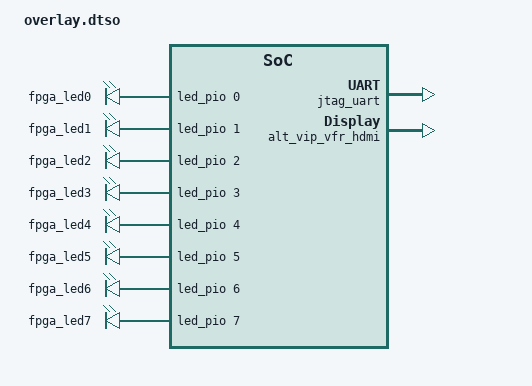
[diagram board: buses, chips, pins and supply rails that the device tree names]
/dts-v1/;
/plugin/; 
/ { 
   	fragment@0 { 
		target-path = "/soc/base-fpga-region"; 
        #address-cells = <1>; 
		#size-cells = <1>; 
        
		__overlay__ { 

			#address-cells = <2>; 
			#size-cells = <1>; 

			//For changing not .rbf only .dtb	
			external-fpga-config;
            
			//For changing .rbf and .dtb
			//rbf and dtb must be on /lib/firmware
			//firmware-name = "<.rbf file name>";

            fpga-bridges = <&fpga_bridge0 &fpga_bridge1>;

			ranges = <0x00000000 0x00000000 0xc0000000 0x20000000>,
                      <0x00000001 0x00000000 0xff200000 0x00200000>;

			clk_0: clk_0 {
					compatible = "fixed-clock";
					#clock-cells = <0>;
					clock-frequency = <50000000>;	/* 50.00 MHz */
			}; //end clk_0 (clk_0)

			jtag_uart: serial@0x100002000 {
				compatible = "altr,juart-16.0", "altr,juart-1.0";
				reg = <0x00000001 0x00002000 0x00000008>;
				interrupt-parent = <&intc>;
				interrupts = <0 42 4>;
				clocks = <&clk_0>;
			}; //end serial@0x100002000 (jtag_uart)

			ILC: ilc@0x100030000 {
				compatible = "altr,altera_ilc-16.0", "altr,ilc-1.0";
				reg = <0x00000001 0x00030000 0x00000100>;
				interrupt-parent = <&intc>;
				interrupts = <0 42 4 0 41 1 0 40 1>;
				interrupt-names = "jtag_uart", "button_pio", "dipsw_pio";
				interrupt-controller;
				#interrupt-cells = <1>;
				clocks = <&clk_0>;
				altr,sw-fifo-depth = <32>;	/* embeddedsw.dts.params.altr,sw-fifo-depth type NUMBER */
			}; //end ilc@0x100030000 (ILC)

			alt_vip_vfr_hdmi: vip@0x100031000 {
				compatible = "ALTR,vip-frame-reader-14.0", "ALTR,vip-frame-reader-9.1";
				reg = <0x00000001 0x00031000 0x00000080>;
				clocks = <&clk_0>;
				max-width = <1024>;	/* MAX_IMAGE_WIDTH type NUMBER */
				max-height = <768>;	/* MAX_IMAGE_HEIGHT type NUMBER */
				bits-per-color = <8>;	/* BITS_PER_PIXEL_PER_COLOR_PLANE type NUMBER */
				colors-per-beat = <4>;	/* NUMBER_OF_CHANNELS_IN_PARALLEL type NUMBER */
				beats-per-pixel = <1>;	/* NUMBER_OF_CHANNELS_IN_SEQUENCE type NUMBER */
				mem-word-width = <128>;	/* MEM_PORT_WIDTH type NUMBER */
			}; //end vip@0x100031000 (alt_vip_vfr_hdmi)

			sysid_qsys: sysid@0x100001000 {
				compatible = "altr,sysid-16.0", "altr,sysid-1.0";
				reg = <0x00000001 0x00001000 0x00000008>;
				clocks = <&clk_0>;
				// id = <2899645186>;	/* embeddedsw.dts.params.id type NUMBER */
				// timestamp = <1490250599>;	/* embeddedsw.dts.params.timestamp type NUMBER */
			}; //end sysid@0x100001000 (sysid_qsys)

			led_pio: gpio@0x100003000 {
				compatible = "altr,pio-16.0", "altr,pio-1.0";
				reg = <0x00000001 0x00003000 0x00000010>;
				clocks = <&clk_0>;
				altr,gpio-bank-width = <8>;	/* embeddedsw.dts.params.altr,gpio-bank-width type NUMBER */
				resetvalue = <255>;	/* embeddedsw.dts.params.resetvalue type NUMBER */
				#gpio-cells = <2>;
				gpio-controller;
			}; //end gpio@0x100003000 (led_pio)

			dipsw_pio: gpio@0x100004000 {
				compatible = "altr,pio-16.0", "altr,pio-1.0";
				reg = <0x00000001 0x00004000 0x00000010>;
				interrupt-parent = <&intc>;
				interrupts = <0 40 1>;
				clocks = <&clk_0>;
				altr,gpio-bank-width = <4>;	/* embeddedsw.dts.params.altr,gpio-bank-width type NUMBER */
				altr,interrupt-type = <3>;	/* embeddedsw.dts.params.altr,interrupt-type type NUMBER */
				altr,interrupt_type = <3>;	/* embeddedsw.dts.params.altr,interrupt_type type NUMBER */
				edge_type = <2>;	/* embeddedsw.dts.params.edge_type type NUMBER */
				level_trigger = <0>;	/* embeddedsw.dts.params.level_trigger type NUMBER */
				resetvalue = <0>;	/* embeddedsw.dts.params.resetvalue type NUMBER */
				#gpio-cells = <2>;
				gpio-controller;
			}; //end gpio@0x100004000 (dipsw_pio)

			button_pio: gpio@0x100005000 {
				compatible = "altr,pio-16.0", "altr,pio-1.0";
				reg = <0x00000001 0x00005000 0x00000010>;
				interrupt-parent = <&intc>;
				interrupts = <0 41 1>;
				clocks = <&clk_0>;
				altr,gpio-bank-width = <2>;	/* embeddedsw.dts.params.altr,gpio-bank-width type NUMBER */
				altr,interrupt-type = <2>;	/* embeddedsw.dts.params.altr,interrupt-type type NUMBER */
				altr,interrupt_type = <2>;	/* embeddedsw.dts.params.altr,interrupt_type type NUMBER */
				edge_type = <1>;	/* embeddedsw.dts.params.edge_type type NUMBER */
				level_trigger = <0>;	/* embeddedsw.dts.params.level_trigger type NUMBER */
				resetvalue = <0>;	/* embeddedsw.dts.params.resetvalue type NUMBER */
				#gpio-cells = <2>;
				gpio-controller;
			}; //end gpio@0x100005000 (button_pio)

			ov-leds {
				compatible = "gpio-leds";
				
				fpga0 {
					label = "fpga_led0";
					gpios = <&led_pio 0 0>;
				};
				fpga1 {
					label = "fpga_led1";
					gpios = <&led_pio 1 0>;
				};
				fpga2 {
					label = "fpga_led2";
					gpios = <&led_pio 2 0>;
				};
				fpga3 {
					label = "fpga_led3";
					gpios = <&led_pio 3 0>;
				};
				fpga4 {
					label = "fpga_led4";
					gpios = <&led_pio 4 0>;
				};
				fpga5 {
					label = "fpga_led5";
					gpios = <&led_pio 5 0>;
				};
				fpga6 {
					label = "fpga_led6";
					gpios = <&led_pio 6 0>;
				};
				fpga7 {
					label = "fpga_led7";
					gpios = <&led_pio 7 0>;
				};
			}; //end ov-leds
		}; //overlay
   	}; //fragment
};
